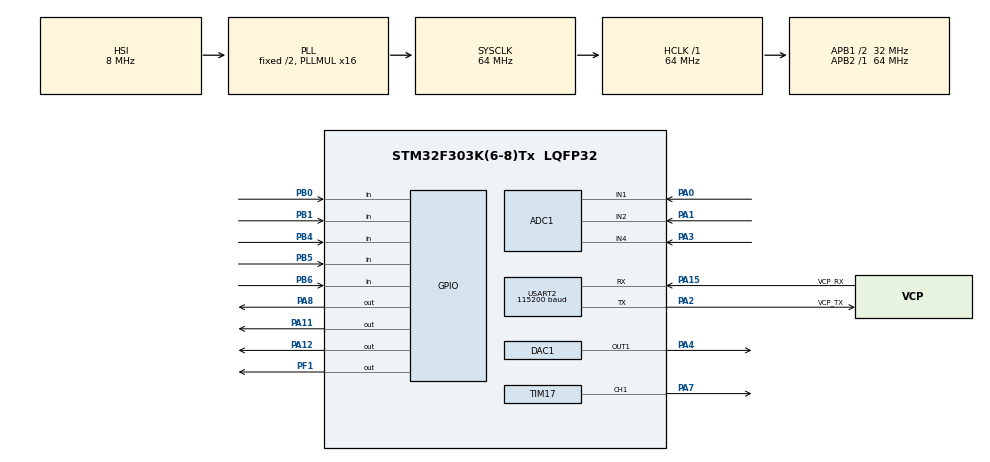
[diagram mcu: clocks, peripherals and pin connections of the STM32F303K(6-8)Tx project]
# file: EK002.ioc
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ADC1.Channel-0\#ChannelRegularConversion=ADC_CHANNEL_1
ADC1.Channel-1\#ChannelRegularConversion=ADC_CHANNEL_2
ADC1.Channel-2\#ChannelRegularConversion=ADC_CHANNEL_4
ADC1.ContinuousConvMode=ENABLE
ADC1.DMAContinuousRequests=ENABLE
ADC1.NbrOfConversion=3
ADC1.NbrOfConversionFlag=1
ADC1.Offset-0\#ChannelRegularConversion=0
ADC1.Offset-1\#ChannelRegularConversion=0
ADC1.Offset-2\#ChannelRegularConversion=0
ADC1.OffsetNumber-0\#ChannelRegularConversion=ADC_OFFSET_NONE
ADC1.OffsetNumber-1\#ChannelRegularConversion=ADC_OFFSET_NONE
ADC1.OffsetNumber-2\#ChannelRegularConversion=ADC_OFFSET_NONE
ADC1.Rank-0\#ChannelRegularConversion=1
ADC1.Rank-1\#ChannelRegularConversion=2
ADC1.Rank-2\#ChannelRegularConversion=3
ADC1.SamplingTime-0\#ChannelRegularConversion=ADC_SAMPLETIME_601CYCLES_5
ADC1.SamplingTime-1\#ChannelRegularConversion=ADC_SAMPLETIME_601CYCLES_5
ADC1.SamplingTime-2\#ChannelRegularConversion=ADC_SAMPLETIME_601CYCLES_5
ADC1.SamplingTimeOPAMP-1\#ChannelRegularConversion=ADC_SAMPLETIME_61CYCLES_5
ADC1.SamplingTimeOPAMP-2\#ChannelRegularConversion=ADC_SAMPLETIME_61CYCLES_5
ADC1.SubFamily=STM32F303x8
ADC1.master=1
DAC1.DAC_Trigger=DAC_TRIGGER_T6_TRGO
Dma.ADC1.1.Direction=DMA_PERIPH_TO_MEMORY
Dma.ADC1.1.Instance=DMA1_Channel1
Dma.ADC1.1.MemDataAlignment=DMA_MDATAALIGN_HALFWORD
Dma.ADC1.1.MemInc=DMA_MINC_ENABLE
Dma.ADC1.1.Mode=DMA_CIRCULAR
Dma.ADC1.1.PeriphDataAlignment=DMA_PDATAALIGN_HALFWORD
Dma.ADC1.1.PeriphInc=DMA_PINC_DISABLE
Dma.ADC1.1.Priority=DMA_PRIORITY_LOW
Dma.DAC1_CH1.2.Direction=DMA_MEMORY_TO_PERIPH
Dma.DAC1_CH1.2.Instance=DMA1_Channel3
Dma.DAC1_CH1.2.MemDataAlignment=DMA_MDATAALIGN_HALFWORD
Dma.DAC1_CH1.2.MemInc=DMA_MINC_ENABLE
Dma.DAC1_CH1.2.Mode=DMA_CIRCULAR
Dma.DAC1_CH1.2.PeriphDataAlignment=DMA_PDATAALIGN_HALFWORD
Dma.DAC1_CH1.2.PeriphInc=DMA_PINC_DISABLE
Dma.DAC1_CH1.2.Priority=DMA_PRIORITY_LOW
Dma.Request0=TIM17_CH1/UP
Dma.Request1=ADC1
Dma.Request2=DAC1_CH1
Dma.TIM17_CH1/UP.0.Direction=DMA_MEMORY_TO_PERIPH
Dma.TIM17_CH1/UP.0.Instance=DMA1_Channel7
Dma.TIM17_CH1/UP.0.MemDataAlignment=DMA_MDATAALIGN_BYTE
Dma.TIM17_CH1/UP.0.MemInc=DMA_MINC_ENABLE
Dma.TIM17_CH1/UP.0.Mode=DMA_CIRCULAR
Dma.TIM17_CH1/UP.0.PeriphDataAlignment=DMA_PDATAALIGN_HALFWORD
Dma.TIM17_CH1/UP.0.PeriphInc=DMA_PINC_DISABLE
Dma.TIM17_CH1/UP.0.Priority=DMA_PRIORITY_LOW
Mcu.Family=STM32F3
Mcu.Name=STM32F303K(6-8)Tx
Mcu.Package=LQFP32
NVIC.DMA1_Channel1_IRQn=true\:0\:0\:false\:false\:true\:false\:true\:true
NVIC.DMA1_Channel3_IRQn=true\:0\:0\:false\:false\:true\:false\:true\:true
NVIC.DMA1_Channel7_IRQn=true\:0\:0\:false\:false\:true\:false\:true\:true
NVIC.PriorityGroup=NVIC_PRIORITYGROUP_4
NVIC.TIM6_DAC1_IRQn=true\:0\:0\:false\:false\:true\:true\:true\:true
NVIC.TIM7_DAC2_IRQn=true\:0\:0\:false\:false\:true\:true\:true\:true
PA0.Mode=IN1-Single-Ended
PA0.Signal=ADC1_IN1
PA1.Mode=IN2-Single-Ended
PA1.Signal=ADC1_IN2
PA11.Signal=GPIO_Output
PA12.Signal=GPIO_Output
PA13.GPIO_Label=SWDIO
PA13.Mode=Trace_Asynchronous_SW
PA13.Signal=SYS_JTMS-SWDIO
PA14.GPIO_Label=SWCLK
PA14.Mode=Trace_Asynchronous_SW
PA14.Signal=SYS_JTCK-SWCLK
PA15.GPIO_Label=VCP_RX
PA15.Mode=Asynchronous
PA15.Signal=USART2_RX
PA2.GPIO_Label=VCP_TX
PA2.Mode=Asynchronous
PA2.Signal=USART2_TX
PA3.Mode=IN4-Single-Ended
PA3.Signal=ADC1_IN4
PA4.Signal=COMP_DAC11_group
PA7.Signal=S_TIM17_CH1
PA8.Signal=GPIO_Output
PB0.Signal=GPIO_Input
PB1.Signal=GPIO_Input
PB3.Mode=Trace_Asynchronous_SW
PB3.Signal=SYS_JTDO-TRACESWO
PB4.Signal=GPIO_Input
PB5.Signal=GPIO_Input
PB6.Signal=GPIO_Input
PF0\ /\ OSC_IN.GPIO_Label=MCO
PF0\ /\ OSC_IN.Mode=HSE-External-Clock-Source
PF0\ /\ OSC_IN.Signal=RCC_OSC_IN
PF1\ /\ OSC_OUT.Signal=GPIO_Output
ProjectManager.HeapSize=0x200
ProjectManager.StackSize=0x400
ProjectManager.TargetToolchain=STM32CubeIDE
RCC.AHBFreq_Value=64000000
RCC.APB1CLKDivider=RCC_HCLK_DIV2
RCC.APB1Freq_Value=32000000
RCC.APB1TimFreq_Value=64000000
RCC.APB2Freq_Value=64000000
RCC.APB2TimFreq_Value=64000000
RCC.CortexFreq_Value=64000000
RCC.HCLKFreq_Value=64000000
RCC.HSE_VALUE=8000000
RCC.HSI_VALUE=8000000
RCC.PLLMUL=RCC_PLL_MUL16
RCC.SYSCLKFreq_VALUE=64000000
RCC.SYSCLKSourceVirtual=RCC_SYSCLKSOURCE_PLLCLK
SH.COMP_DAC11_group.0=DAC1_OUT1,DAC_OUT1
SH.S_TIM17_CH1.0=TIM17_CH1,PWM Generation1 CH1
TIM17.Channel=TIM_CHANNEL_1
TIM17.Period=39
TIM17.Prescaler=1
TIM6.AutoReloadPreload=TIM_AUTORELOAD_PRELOAD_ENABLE
TIM6.Period=2666
TIM6.TIM_MasterOutputTrigger=TIM_TRGO_UPDATE
TIM7.AutoReloadPreload=TIM_AUTORELOAD_PRELOAD_ENABLE
TIM7.Period=1000
TIM7.Prescaler=64
USART2.BaudRate=115200
USART2.VirtualMode-Asynchronous=VM_ASYNC
VP_TIM17_VS_ClockSourceINT.Mode=Enable_Timer
VP_TIM6_VS_ClockSourceINT.Mode=Enable_Timer
VP_TIM7_VS_ClockSourceINT.Mode=Enable_Timer
board=NUCLEO-F303K8

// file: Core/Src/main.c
/* USER CODE BEGIN Header */
/**
  ******************************************************************************
  * @file           : main.c
  * @brief          : Main program body
  ******************************************************************************
  * @attention
  *
  * Copyright (c) 2023 STMicroelectronics.
  * All rights reserved.
  *
  * This software is licensed under terms that can be found in the LICENSE file
  * in the root directory of this software component.
  * If no LICENSE file comes with this software, it is provided AS-IS.
  *
  ******************************************************************************
  */
/* USER CODE END Header */
#include "main.h"

/* USER CODE BEGIN Includes */
#include <stdio.h>
#include <math.h>

/* USER CODE END Includes */

ADC_HandleTypeDef hadc1;
DMA_HandleTypeDef hdma_adc1;

DAC_HandleTypeDef hdac1;
DMA_HandleTypeDef hdma_dac1_ch1;

TIM_HandleTypeDef htim6;
TIM_HandleTypeDef htim7;
TIM_HandleTypeDef htim17;
DMA_HandleTypeDef hdma_tim17_ch1_up;

UART_HandleTypeDef huart2;

void SystemClock_Config(void);
static void MX_GPIO_Init(void);
static void MX_DMA_Init(void);
static void MX_USART2_UART_Init(void);
static void MX_TIM17_Init(void);
static void MX_ADC1_Init(void);
static void MX_DAC1_Init(void);
static void MX_TIM6_Init(void);
static void MX_TIM7_Init(void);

/* USER CODE BEGIN 0 */

//###### DAC1 Out1 ######
// Use DAC1-Out1 for audio output
//  Driven by DMA1-Ch3 trig TIM6 DMA Circular

#define OUTBUFFLEN (2048)
#define OUTBUFFLENHALF (OUTBUFFLEN / 2)

uint16_t outBuff[OUTBUFFLEN];		// OutputBuffer for DAC
int outBuffAvail0 = 1;				// Buffer First half ready
int outBuffAvail1 = 1;				// Buffer Latter half ready

//###### ADC1 Ch1,Ch2,Ch4 ######
// Read 3 pots analog value ADC1-Ch1, ADC1-Ch2, ADC-Ch4 by DMA1-Ch1 Circular

uint16_t adcVal[3] = {
		0, 0, 0,
};

//###### NeoPixel ######
// NeoPixel LED Driven by TIM17-Ch1 PWM, duty controlled by DMA1-Ch7 (neoPixelBuff)
//
#define NEOPIXELNUM 4
#define NEOPIXELPREAMBLE 50
#define NEOPIXELPOSTAMBLE 10
#define NEOPIXELBUFFLEN (24 * NEOPIXELNUM + NEOPIXELPREAMBLE + NEOPIXELPOSTAMBLE)

// NeoPixel duty definition
#define NEOPIXBIT0	12
#define NEOPIXBIT1	26
int tim17prescaler = 1;

// PWM duty control value array
uint8_t neoPixelBuff[NEOPIXELBUFFLEN] = {
		0,0,0,0,0,0,0,0,0,0,	// preamble
		0,0,0,0,0,0,0,0,0,0,
		0,0,0,0,0,0,0,0,0,0,
		0,0,0,0,0,0,0,0,0,0,
		0,0,0,0,0,0,0,0,0,0,

		0,0,0,0,0,0,0,0,0,0,	// LED 0
		0,0,0,0,0,0,0,0,0,0,
		0,0,0,0,

		0,0,0,0,0,0,0,0,0,0,	// LED 1
		0,0,0,0,0,0,0,0,0,0,
		0,0,0,0,

		0,0,0,0,0,0,0,0,0,0,	// LED 2
		0,0,0,0,0,0,0,0,0,0,
		0,0,0,0,

		0,0,0,0,0,0,0,0,0,0,	// LED 3
		0,0,0,0,0,0,0,0,0,0,
		0,0,0,0,

		0,0,0,0,0,0,0,0,0,0,	// postamble
};
uint8_t neoPixelBuffNone[16] = {
		0, 0, 0, 0, 0, 0, 0, 0,
		0, 0, 0, 0, 0, 0, 0, 0,
};

//###### Keys #####
#define VOICEMAX 4

int keyActive[VOICEMAX];
int keyActiveQue[VOICEMAX];

// KO 0-2 = PA12, PA8, PA11
// KI 0-5 = GPIO PortB bit => 5432xx10
int keyOut;
int keyInBits = 0;
int keyInBitsOld1 = 0;
int keyInBitsOld2 = 0;

// Read KI 0-5 bits
// EK002 PB 5432xx10
#define KEYINBITS ((GPIOB->IDR & 0b11) | ((GPIOB->IDR >> 2) & 0b00111100))

// KO 0-2 port & pin
//EK002
#define KEYOUT0_PORT GPIOA
#define KEYOUT1_PORT GPIOA
#define KEYOUT2_PORT GPIOA
#define KEYOUT0_PIN GPIO_PIN_12
#define KEYOUT1_PIN GPIO_PIN_8
#define KEYOUT2_PIN GPIO_PIN_11

//###### Osc ######

#define OSCFSORIG (24000)
int oscFsTune = OSCFSORIG;
int oscDelta[17];
int oscPhaseActive[VOICEMAX];
int envPhaseActive[VOICEMAX];
int oscMix;
int envPhaseRate;

// Ring Osc
int modPhase = 0;
int modDelta = 2555;
int modType = 0;

// NeoPixel status
int ledOut[3];

// Frequencies for each keys
#define OCTAVE 3

int oscFreq[17] = {
		(int)(1174.6590716696303 * (0x02000 << OCTAVE)),	//D5
		(int)(987.7666025122483  * (0x02000 << OCTAVE)),	//B4
		(int)(783.9908719634986  * (0x02000 << OCTAVE)), 	//G4
		(int)(659.2551138257398  * (0x02000 << OCTAVE)),	//E4
		(int)(523.2511306011972  * (0x02000 << OCTAVE)),	//C4
		(int)(440.0              * (0x02000 << OCTAVE)),	//A3
		(int)(349.2282314330039  * (0x02000 << OCTAVE)),	//F3
		(int)(293.6647679174076  * (0x02000 << OCTAVE)),	//D3
		(int)(261.6255653005986  * (0x02000 << OCTAVE)),	//C3
		(int)(329.6275569128699  * (0x02000 << OCTAVE)),	//E3
		(int)(391.99543598174927 * (0x02000 << OCTAVE)),	//G3
		(int)(493.8833012561241  * (0x02000 << OCTAVE)),	//B3
		(int)(587.3295358348151  * (0x02000 << OCTAVE)),	//D4
		(int)(698.4564628660078  * (0x02000 << OCTAVE)),	//F4
		(int)(880.0              * (0x02000 << OCTAVE)),	//A4
		(int)(1046.5022612023945 * (0x02000 << OCTAVE)),	//C5
		(int)(1318.5102276514797 * (0x02000 << OCTAVE)), 	//E5
};

// Waveforms

int waveTabA[] = {
		0,
		98,
		195,
		290,
		383,
		471,
		556,
		634,
		707,
		773,
		831,
		882,
		924,
		957,
		981,
		995,
		1000,
		995,
		981,
		957,
		924,
		882,
		831,
		773,
		707,
		634,
		556,
		471,
		383,
		290,
		195,
		98,
		0,
		-98,
		-195,
		-290,
		-383,
		-471,
		-556,
		-634,
		-707,
		-773,
		-831,
		-882,
		-924,
		-957,
		-981,
		-995,
		-1000,
		-995,
		-981,
		-957,
		-924,
		-882,
		-831,
		-773,
		-707,
		-634,
		-556,
		-471,
		-383,
		-290,
		-195,
		-98,
		0,
};
int waveTabB[] = {
		0,
		3,
		24,
		67,
		125,
		179,
		212,
		221,
		220,
		228,
		260,
		315,
		378,
		426,
		446,
		442,
		434,
		449,
		498,
		573,
		644,
		682,
		676,
		642,
		620,
		652,
		752,
		888,
		991,
		980,
		800,
		452,
		0,
		-452,
		-800,
		-980,
		-991,
		-888,
		-752,
		-652,
		-620,
		-642,
		-676,
		-682,
		-644,
		-573,
		-498,
		-449,
		-434,
		-442,
		-446,
		-426,
		-378,
		-315,
		-260,
		-228,
		-220,
		-221,
		-212,
		-179,
		-125,
		-67,
		-24,
		-3,
		0,
};
int waveTabC[] = {
		0,
		523,
		897,
		1029,
		915,
		634,
		315,
		81,
		0,
		66,
		210,
		339,
		379,
		312,
		178,
		52,
		0,
		52,
		178,
		312,
		379,
		339,
		210,
		66,
		0,
		81,
		315,
		634,
		915,
		1029,
		897,
		523,
		0,
		-523,
		-897,
		-1029,
		-915,
		-634,
		-315,
		-81,
		0,
		-66,
		-210,
		-339,
		-379,
		-312,
		-178,
		-52,
		0,
		-52,
		-178,
		-312,
		-379,
		-339,
		-210,
		-66,
		0,
		-81,
		-315,
		-634,
		-915,
		-1029,
		-897,
		-523,
		0,
};
int waveTabD[] = {
		0,
		0,
		0,
		0,
		0,
		0,
		0,
		0,
		0,
		0,
		700,
		700,
		700,
		700,
		700,
		700,
		700,
		700,
		700,
		700,
		700,
		700,
		700,
		700,
		700,
		700,
		700,
		700,
		700,
		700,
		700,
		-700,
		-700,
		-700,
		-700,
		-700,
		-700,
		-700,
		-700,
		-700,
		-700,
		-700,
		-700,
		-700,
		-700,
		-700,
		-700,
		-700,
		-700,
		-700,
		-700,
		-700,
		-700,
		-700,
		0,
		0,
		0,
		0,
		0,
		0,
		0,
		0,
		0,
		0,
		0,
};
// Current waveform (The output will be mix of waveTab1 and waveTab2)
int *waveTab1 = waveTabA;
int *waveTab2 = waveTabB;

// Envelope curve
int envTab[] = {
		1024,
		870,
		740,
		629,
		535,
		454,
		386,
		328,
		279,
		237,
		202,
		171,
		146,
		124,
		105,
		89,
		76,
		65,
		55,
		47,
		40,
		34,
		29,
		24,
		21,
		18,
		15,
		13,
		11,
		9,
		8,
		7,
		6,
		5,
		4,
		3,
		3,
		3,
		2,
		0
};
#define ENVTABLEN (sizeof envTab / sizeof envTab[0])
#define ENVPHASEMAX ((ENVTABLEN -1) << 20)

int key2LedOut[] = {
		0,
		0,
		0,
		1,
		1,
		1,
		2,
		2,
		2,
		2,
		2,
		1,
		1,
		1,
		0,
		0,
		0,
};

// Select the least important voice
int disposeVoice(int key) {
	int v = 0;
	int envMax = 0;
	for(int i=0; i < VOICEMAX; ++i) {
		if(envPhaseActive[i] >= ENVPHASEMAX)
			return i;
		if(keyActive[i] == key)
			return i;
		if(envPhaseActive[i] > envMax) {
			envMax = envPhaseActive[i];
			v = i;
		}
	}
	return v;
}
// Assign new voice
void assignVoice(int key) {
//	printf("key: %d\r\n",key);
	int voice = disposeVoice(key);
	if(envPhaseActive[voice] < ENVPHASEMAX) {
		keyActiveQue[voice] = key;
	}
	else {
		oscPhaseActive[voice] = 0;
		keyActive[voice] = key;
		envPhaseActive[voice] = 0;
	}
}
// Setup NeoPix N to specified BRG color
void neoPixelSetCol(int n, int brg) {
	int offset = NEOPIXELPREAMBLE + (n * 24);
	for(int i = 0; i < 24; ++i, brg <<= 1) {
		if(brg & 0x800000)
			neoPixelBuff[offset + i] = NEOPIXBIT1;
		else
			neoPixelBuff[offset + i] = NEOPIXBIT0;
	}
}
// Scan keys
void scanKeys() {
	keyInBits = (keyInBits << 6) | KEYINBITS;						// collect key status
	neoPixelSetCol(keyOut, (keyInBits & 0b111111) ? 0x000010:0);
	if(--keyOut < 0) {
		int keyInBitsNew = keyInBits & keyInBitsOld1 & keyInBitsOld2;
		for(int n = 0;n < 17; ++n, keyInBitsNew >>= 1) {
			if(keyInBitsNew & 1) {
				assignVoice(n);
			}
		}
		keyOut = 2;
		keyInBitsOld2 = keyInBitsOld1;
		keyInBitsOld1 = ~keyInBits;
		keyInBits = 0;
	}
    switch(keyOut) {												// next scan (KO2 => KO1 => KO0)
    case 0:
    	HAL_GPIO_WritePin(KEYOUT1_PORT, KEYOUT1_PIN, GPIO_PIN_RESET);
    	HAL_GPIO_WritePin(KEYOUT0_PORT, KEYOUT0_PIN, GPIO_PIN_SET);
    	break;
    case 1:
    	HAL_GPIO_WritePin(KEYOUT2_PORT, KEYOUT2_PIN, GPIO_PIN_RESET);
    	HAL_GPIO_WritePin(KEYOUT1_PORT, KEYOUT1_PIN, GPIO_PIN_SET);
    	break;
    case 2:
    	HAL_GPIO_WritePin(KEYOUT0_PORT, KEYOUT0_PIN, GPIO_PIN_RESET);
    	HAL_GPIO_WritePin(KEYOUT2_PORT, KEYOUT2_PIN, GPIO_PIN_SET);
    	break;
    }
}
// Edit with pot parameters
void editSetup() {
  static int editstage=0;
  if(++editstage > 2) {
	  editstage = 0;
  }
  switch(editstage) {
  case 0:				// setup Sustain param
	  envPhaseRate = 0x100000 / (adcVal[0] + 0x100);
	  break;
  case 1:				// setup Waveform param
	  oscMix = ((adcVal[1] & 1023) >> 2);
	  if(adcVal[1] >= 3072) {
		  modType = 1;
		  waveTab1 = waveTabD;
		  waveTab2 = waveTabD;
	  }
	  else if(adcVal[1] >= 2048) {
		  modType = 0;
		  waveTab1 = waveTabC;
		  waveTab2 = waveTabD;
	  }
	  else if(adcVal[1] >= 1024) {
		  modType = 0;
		  waveTab1 = waveTabB;
		  waveTab2 = waveTabC;
	  }
	  else {
		  modType = 0;
		  waveTab1 = waveTabA;
		  waveTab2 = waveTabB;
	  }
	  break;
  case 2:				// setup Tuning param
	  int detune = (adcVal[2] & 0xfff) - 2048;
	  oscFsTune = OSCFSORIG - detune;
	  break;
  }
}
// Create the timings for keyscan / editparameters
void scanInterval() {
	// 1kHz Interval
	static int cntKeyScan = 0;
	static int cntEditParam = 0;
	if(++cntKeyScan > 1) {
		cntKeyScan = 0;
		scanKeys();
	}
	else if(++cntEditParam >= 8) {
    	cntEditParam = 0;
    	editSetup();
    }
}
// Generate output signals
//  fill half the buffer with the signals from offset
void generate(int offset) {
	int sumVoiceData;
	ledOut[0] = ledOut[1] = ledOut[2] = 0;
	for(int key = 0; key < 17; ++key)
		oscDelta[key] = oscFreq[key] / oscFsTune;
	for(int j = 0; j < OUTBUFFLENHALF; ++j) {										// Fill half the buffer
		sumVoiceData = 0x8000;
		for(int i = 0; i < VOICEMAX; ++i) {
			if(envPhaseActive[i] < ENVPHASEMAX) {									// Sound generating
				int ph = oscPhaseActive[i];
				int frac = (ph >> 6) & 0xf;
				int idx = ph >> 10;
				int idxNext = idx + 1;
				int wave1 = waveTab1[idx] + (((waveTab1[idxNext] - waveTab1[idx]) * frac) >> 4);
				int wave2;
				if(modType) {														// If use RingMod
					modPhase = (modPhase + modDelta) & 0xffff;
					int ringOsc = waveTab1[modPhase>>10];
					wave2 = (wave1 * ringOsc) >> 10;
				}
				else {
					wave2 = waveTab2[idx] + (((waveTab2[idxNext] - waveTab2[idx]) * frac) >> 4);
				}
				int wave = wave1 + (((wave2 - wave1) * oscMix) >> 8);				// Mix two waveform
				int envIdx = (envPhaseActive[i] >> 20);
				int envIdxNext = envIdx + 1;
				int envFrac = (envPhaseActive[i] >> 16) & 0xf;
				int envVal = envTab[envIdx];
				envVal = envVal + ((envTab[envIdxNext] - envVal) * envFrac >> 4);	// Envelope value
				int voiceData = ((wave * (envVal>>2)) >> 5);
				int ledidx = key2LedOut[keyActive[i]];
				if(envVal > ledOut[ledidx])
					ledOut[ledidx] = envVal;
				sumVoiceData += voiceData;
				if((oscPhaseActive[i] += oscDelta[keyActive[i]]) >= 0x10000) {
					oscPhaseActive[i] -= 0x10000;
				}
				envPhaseActive[i] += envPhaseRate;
				if(keyActiveQue[i] >= 0) {											// If the next key is in the queue
					if((envPhaseActive[i] += 0x100000) >= ENVPHASEMAX) {  			// hasten the envelope and reduce the volume
						keyActive[i] = keyActiveQue[i];
						envPhaseActive[i] = 0;
						oscPhaseActive[i] = 0;
						keyActiveQue[i] = -1;
					}
				}
			}
		}
		if(sumVoiceData >= 0xf000) {
			sumVoiceData = 0xf000;
//			HAL_GPIO_WritePin(GPIOB, GPIO_PIN_3, GPIO_PIN_SET);
		}
		else if(sumVoiceData < 0x1000) {
			sumVoiceData = 0x1000;
//			HAL_GPIO_WritePin(GPIOB, GPIO_PIN_3, GPIO_PIN_SET);
		}
		else {
//			HAL_GPIO_WritePin(GPIOB, GPIO_PIN_3, GPIO_PIN_RESET);
		}
		outBuff[offset + j] = sumVoiceData;
		if(offset) {
			outBuffAvail1 = 1;
//			HAL_GPIO_WritePin(GPIOB, GPIO_PIN_3, GPIO_PIN_SET);
		}
		else {
			outBuffAvail0 = 1;
//			HAL_GPIO_WritePin(GPIOB, GPIO_PIN_3, GPIO_PIN_RESET);
		}
	}
	neoPixelSetCol(3, ((ledOut[1]<<10)&0x0f0000) | ((ledOut[2]<<2)&0x000f00) | (ledOut[0] >> 3));
}

//###### Callback #######################

//###### TIM17 callback
void HAL_TIM_PWM_PulseFinishedCallback(TIM_HandleTypeDef *htim) {
    if(htim->Instance == TIM17) {
		if(tim17prescaler == 1) {
			__HAL_TIM_SET_PRESCALER(htim, tim17prescaler = 1000);
			HAL_TIM_PWM_Start_DMA(&htim17,TIM_CHANNEL_1,(uint32_t*)neoPixelBuffNone, sizeof neoPixelBuffNone);
		}
		else {
			__HAL_TIM_SET_PRESCALER(htim, tim17prescaler = 1);
			HAL_TIM_PWM_Start_DMA(&htim17,TIM_CHANNEL_1,(uint32_t*)neoPixelBuff, sizeof neoPixelBuff);
		}
	}
}
//###### TIM7 callback
void  HAL_TIM_PeriodElapsedCallback(TIM_HandleTypeDef *htim){
	if(htim->Instance == TIM7) {
	  scanInterval();
	}
}
//###### DAC callback End of buffer
void HAL_DAC_ConvCpltCallbackCh1(DAC_HandleTypeDef *hdac) {
	outBuffAvail1 = 0;
}
//###### DAC callback End of half buffer
void HAL_DAC_ConvHalfCpltCallbackCh1(DAC_HandleTypeDef *hdac) {
	outBuffAvail0 = 0;

}
//###### for printf debug ######
int _write(int file, char *ptr, int len)
{
  HAL_UART_Transmit(&huart2,(uint8_t *)ptr,len,10);
  return len;
}

/* USER CODE END 0 */

int main(void)
{

  /* MCU Configuration--------------------------------------------------------*/

  /* Reset of all peripherals, Initializes the Flash interface and the Systick. */
  HAL_Init();

  /* USER CODE BEGIN Init */
  setbuf(stdout, NULL);

  for(int i = 0; i < OUTBUFFLEN; ++i) {
	  outBuff[i] = 0x8000;
  }
  for(int i = 0; i < VOICEMAX; ++i) {
	  envPhaseActive[i] = (ENVTABLEN << 20);
  }
  /* USER CODE END Init */

  /* Configure the system clock */
  SystemClock_Config();

  /* Initialize all configured peripherals */
  MX_GPIO_Init();
  MX_DMA_Init();
  MX_USART2_UART_Init();
  MX_TIM17_Init();
  MX_ADC1_Init();
  MX_DAC1_Init();
  MX_TIM6_Init();
  MX_TIM7_Init();
  /* USER CODE BEGIN 2 */

  printf(" USER CODE BEGIN 2\r\n");

  HAL_DAC_Start(&hdac1, DAC_CHANNEL_1);
  HAL_ADC_Start_DMA(&hadc1, (uint32_t *)adcVal, 3);
  HAL_TIM_Base_Start_IT(&htim6);
  HAL_TIM_Base_Start_IT(&htim7);
  HAL_TIM_PWM_Start_DMA(&htim17,TIM_CHANNEL_1,(uint32_t*)neoPixelBuff, sizeof neoPixelBuff);

  HAL_GPIO_WritePin(GPIOF, GPIO_PIN_1, GPIO_PIN_RESET);
  HAL_GPIO_WritePin(GPIOA, GPIO_PIN_8, GPIO_PIN_RESET);
  HAL_GPIO_WritePin(GPIOA, GPIO_PIN_11, GPIO_PIN_RESET);

  for(int i = 0; i < 17; ++i) {
	  oscDelta[i] = oscFreq[i] / OSCFSORIG;
  }
  for(int i = 0; i < VOICEMAX; ++i) {
	  keyActive[i] = keyActiveQue[i] = -1;
  }
  neoPixelSetCol(3, 0x101010);
  HAL_DAC_Start_DMA(&hdac1, DAC_CHANNEL_1, (uint32_t*)outBuff, OUTBUFFLEN, DAC_ALIGN_12B_L);

  printf("STM32 Initialized.\r\n");

  /* USER CODE END 2 */

  /* Infinite loop */
  /* USER CODE BEGIN WHILE */

  printf("BEGIN WHILE\r\n");

  while (1)
  {
    /* USER CODE END WHILE */

    /* USER CODE BEGIN 3 */
	  // Fill output buffer
	  if(outBuffAvail0 == 0)
		  generate(0);
	  if(outBuffAvail1 == 0)
		  generate(OUTBUFFLENHALF);
  }
  /* USER CODE END 3 */
}

void SystemClock_Config(void)
{
  RCC_OscInitTypeDef RCC_OscInitStruct = {0};
  RCC_ClkInitTypeDef RCC_ClkInitStruct = {0};
  RCC_PeriphCLKInitTypeDef PeriphClkInit = {0};

  /** Initializes the RCC Oscillators according to the specified parameters
  * in the RCC_OscInitTypeDef structure.
  */
  RCC_OscInitStruct.OscillatorType = RCC_OSCILLATORTYPE_HSI;
  RCC_OscInitStruct.HSIState = RCC_HSI_ON;
  RCC_OscInitStruct.HSICalibrationValue = RCC_HSICALIBRATION_DEFAULT;
  RCC_OscInitStruct.PLL.PLLState = RCC_PLL_ON;
  RCC_OscInitStruct.PLL.PLLSource = RCC_PLLSOURCE_HSI;
  RCC_OscInitStruct.PLL.PLLMUL = RCC_PLL_MUL16;
  if (HAL_RCC_OscConfig(&RCC_OscInitStruct) != HAL_OK)
  {
    Error_Handler();
  }

  /** Initializes the CPU, AHB and APB buses clocks
  */
  RCC_ClkInitStruct.ClockType = RCC_CLOCKTYPE_HCLK|RCC_CLOCKTYPE_SYSCLK
                              |RCC_CLOCKTYPE_PCLK1|RCC_CLOCKTYPE_PCLK2;
  RCC_ClkInitStruct.SYSCLKSource = RCC_SYSCLKSOURCE_PLLCLK;
  RCC_ClkInitStruct.AHBCLKDivider = RCC_SYSCLK_DIV1;
  RCC_ClkInitStruct.APB1CLKDivider = RCC_HCLK_DIV2;
  RCC_ClkInitStruct.APB2CLKDivider = RCC_HCLK_DIV1;

  if (HAL_RCC_ClockConfig(&RCC_ClkInitStruct, FLASH_LATENCY_2) != HAL_OK)
  {
    Error_Handler();
  }
  PeriphClkInit.PeriphClockSelection = RCC_PERIPHCLK_ADC12;
  PeriphClkInit.Adc12ClockSelection = RCC_ADC12PLLCLK_DIV1;
  if (HAL_RCCEx_PeriphCLKConfig(&PeriphClkInit) != HAL_OK)
  {
    Error_Handler();
  }
}

static void MX_ADC1_Init(void)
{

  ADC_MultiModeTypeDef multimode = {0};
  ADC_ChannelConfTypeDef sConfig = {0};

  /** Common config
  */
  hadc1.Instance = ADC1;
  hadc1.Init.ClockPrescaler = ADC_CLOCK_ASYNC_DIV1;
  hadc1.Init.Resolution = ADC_RESOLUTION_12B;
  hadc1.Init.ScanConvMode = ADC_SCAN_ENABLE;
  hadc1.Init.ContinuousConvMode = ENABLE;
  hadc1.Init.DiscontinuousConvMode = DISABLE;
  hadc1.Init.ExternalTrigConvEdge = ADC_EXTERNALTRIGCONVEDGE_NONE;
  hadc1.Init.ExternalTrigConv = ADC_SOFTWARE_START;
  hadc1.Init.DataAlign = ADC_DATAALIGN_RIGHT;
  hadc1.Init.NbrOfConversion = 3;
  hadc1.Init.DMAContinuousRequests = ENABLE;
  hadc1.Init.EOCSelection = ADC_EOC_SINGLE_CONV;
  hadc1.Init.LowPowerAutoWait = DISABLE;
  hadc1.Init.Overrun = ADC_OVR_DATA_OVERWRITTEN;
  if (HAL_ADC_Init(&hadc1) != HAL_OK)
  {
    Error_Handler();
  }

  /** Configure the ADC multi-mode
  */
  multimode.Mode = ADC_MODE_INDEPENDENT;
  if (HAL_ADCEx_MultiModeConfigChannel(&hadc1, &multimode) != HAL_OK)
  {
    Error_Handler();
  }

  /** Configure Regular Channel
  */
  sConfig.Channel = ADC_CHANNEL_1;
  sConfig.Rank = ADC_REGULAR_RANK_1;
  sConfig.SingleDiff = ADC_SINGLE_ENDED;
  sConfig.SamplingTime = ADC_SAMPLETIME_601CYCLES_5;
  sConfig.OffsetNumber = ADC_OFFSET_NONE;
  sConfig.Offset = 0;
  if (HAL_ADC_ConfigChannel(&hadc1, &sConfig) != HAL_OK)
  {
    Error_Handler();
  }

  /** Configure Regular Channel
  */
  sConfig.Channel = ADC_CHANNEL_2;
  sConfig.Rank = ADC_REGULAR_RANK_2;
  if (HAL_ADC_ConfigChannel(&hadc1, &sConfig) != HAL_OK)
  {
    Error_Handler();
  }

  /** Configure Regular Channel
  */
  sConfig.Channel = ADC_CHANNEL_4;
  sConfig.Rank = ADC_REGULAR_RANK_3;
  if (HAL_ADC_ConfigChannel(&hadc1, &sConfig) != HAL_OK)
  {
    Error_Handler();
  }

}

static void MX_DAC1_Init(void)
{

  DAC_ChannelConfTypeDef sConfig = {0};

  /** DAC Initialization
  */
  hdac1.Instance = DAC1;
  if (HAL_DAC_Init(&hdac1) != HAL_OK)
  {
    Error_Handler();
  }

  /** DAC channel OUT1 config
  */
  sConfig.DAC_Trigger = DAC_TRIGGER_T6_TRGO;
  sConfig.DAC_OutputBuffer = DAC_OUTPUTBUFFER_ENABLE;
  if (HAL_DAC_ConfigChannel(&hdac1, &sConfig, DAC_CHANNEL_1) != HAL_OK)
  {
    Error_Handler();
  }

}

static void MX_TIM6_Init(void)
{

  TIM_MasterConfigTypeDef sMasterConfig = {0};

  htim6.Instance = TIM6;
  htim6.Init.Prescaler = 0;
  htim6.Init.CounterMode = TIM_COUNTERMODE_UP;
  htim6.Init.Period = 2666;
  htim6.Init.AutoReloadPreload = TIM_AUTORELOAD_PRELOAD_ENABLE;
  if (HAL_TIM_Base_Init(&htim6) != HAL_OK)
  {
    Error_Handler();
  }
  sMasterConfig.MasterOutputTrigger = TIM_TRGO_UPDATE;
  sMasterConfig.MasterSlaveMode = TIM_MASTERSLAVEMODE_DISABLE;
  if (HAL_TIMEx_MasterConfigSynchronization(&htim6, &sMasterConfig) != HAL_OK)
  {
    Error_Handler();
  }

}

static void MX_TIM7_Init(void)
{

  TIM_MasterConfigTypeDef sMasterConfig = {0};

  htim7.Instance = TIM7;
  htim7.Init.Prescaler = 64;
  htim7.Init.CounterMode = TIM_COUNTERMODE_UP;
  htim7.Init.Period = 1000;
  htim7.Init.AutoReloadPreload = TIM_AUTORELOAD_PRELOAD_ENABLE;
  if (HAL_TIM_Base_Init(&htim7) != HAL_OK)
  {
    Error_Handler();
  }
  sMasterConfig.MasterOutputTrigger = TIM_TRGO_RESET;
  sMasterConfig.MasterSlaveMode = TIM_MASTERSLAVEMODE_DISABLE;
  if (HAL_TIMEx_MasterConfigSynchronization(&htim7, &sMasterConfig) != HAL_OK)
  {
    Error_Handler();
  }

}

static void MX_TIM17_Init(void)
{

  TIM_OC_InitTypeDef sConfigOC = {0};
  TIM_BreakDeadTimeConfigTypeDef sBreakDeadTimeConfig = {0};

  htim17.Instance = TIM17;
  htim17.Init.Prescaler = 1;
  htim17.Init.CounterMode = TIM_COUNTERMODE_UP;
  htim17.Init.Period = 39;
  htim17.Init.ClockDivision = TIM_CLOCKDIVISION_DIV1;
  htim17.Init.RepetitionCounter = 0;
  htim17.Init.AutoReloadPreload = TIM_AUTORELOAD_PRELOAD_DISABLE;
  if (HAL_TIM_Base_Init(&htim17) != HAL_OK)
  {
    Error_Handler();
  }
  if (HAL_TIM_PWM_Init(&htim17) != HAL_OK)
  {
    Error_Handler();
  }
  sConfigOC.OCMode = TIM_OCMODE_PWM1;
  sConfigOC.Pulse = 0;
  sConfigOC.OCPolarity = TIM_OCPOLARITY_HIGH;
  sConfigOC.OCNPolarity = TIM_OCNPOLARITY_HIGH;
  sConfigOC.OCFastMode = TIM_OCFAST_DISABLE;
  sConfigOC.OCIdleState = TIM_OCIDLESTATE_RESET;
  sConfigOC.OCNIdleState = TIM_OCNIDLESTATE_RESET;
  if (HAL_TIM_PWM_ConfigChannel(&htim17, &sConfigOC, TIM_CHANNEL_1) != HAL_OK)
  {
    Error_Handler();
  }
  sBreakDeadTimeConfig.OffStateRunMode = TIM_OSSR_DISABLE;
  sBreakDeadTimeConfig.OffStateIDLEMode = TIM_OSSI_DISABLE;
  sBreakDeadTimeConfig.LockLevel = TIM_LOCKLEVEL_OFF;
  sBreakDeadTimeConfig.DeadTime = 0;
  sBreakDeadTimeConfig.BreakState = TIM_BREAK_DISABLE;
  sBreakDeadTimeConfig.BreakPolarity = TIM_BREAKPOLARITY_HIGH;
  sBreakDeadTimeConfig.BreakFilter = 0;
  sBreakDeadTimeConfig.AutomaticOutput = TIM_AUTOMATICOUTPUT_DISABLE;
  if (HAL_TIMEx_ConfigBreakDeadTime(&htim17, &sBreakDeadTimeConfig) != HAL_OK)
  {
    Error_Handler();
  }
  HAL_TIM_MspPostInit(&htim17);

}

static void MX_USART2_UART_Init(void)
{

  huart2.Instance = USART2;
  huart2.Init.BaudRate = 115200;
  huart2.Init.WordLength = UART_WORDLENGTH_8B;
  huart2.Init.StopBits = UART_STOPBITS_1;
  huart2.Init.Parity = UART_PARITY_NONE;
  huart2.Init.Mode = UART_MODE_TX_RX;
  huart2.Init.HwFlowCtl = UART_HWCONTROL_NONE;
  huart2.Init.OverSampling = UART_OVERSAMPLING_16;
  huart2.Init.OneBitSampling = UART_ONE_BIT_SAMPLE_DISABLE;
  huart2.AdvancedInit.AdvFeatureInit = UART_ADVFEATURE_NO_INIT;
  if (HAL_UART_Init(&huart2) != HAL_OK)
  {
    Error_Handler();
  }

}

static void MX_DMA_Init(void)
{

  /* DMA controller clock enable */
  __HAL_RCC_DMA1_CLK_ENABLE();

  /* DMA interrupt init */
  /* DMA1_Channel1_IRQn interrupt configuration */
  HAL_NVIC_SetPriority(DMA1_Channel1_IRQn, 0, 0);
  HAL_NVIC_EnableIRQ(DMA1_Channel1_IRQn);
  /* DMA1_Channel3_IRQn interrupt configuration */
  HAL_NVIC_SetPriority(DMA1_Channel3_IRQn, 0, 0);
  HAL_NVIC_EnableIRQ(DMA1_Channel3_IRQn);
  /* DMA1_Channel7_IRQn interrupt configuration */
  HAL_NVIC_SetPriority(DMA1_Channel7_IRQn, 0, 0);
  HAL_NVIC_EnableIRQ(DMA1_Channel7_IRQn);

}

static void MX_GPIO_Init(void)
{
  GPIO_InitTypeDef GPIO_InitStruct = {0};

  /* GPIO Ports Clock Enable */
  __HAL_RCC_GPIOF_CLK_ENABLE();
  __HAL_RCC_GPIOA_CLK_ENABLE();
  __HAL_RCC_GPIOB_CLK_ENABLE();

  /*Configure GPIO pin Output Level */
  HAL_GPIO_WritePin(GPIOF, GPIO_PIN_1, GPIO_PIN_RESET);

  /*Configure GPIO pin Output Level */
  HAL_GPIO_WritePin(GPIOA, GPIO_PIN_8|GPIO_PIN_11|GPIO_PIN_12, GPIO_PIN_RESET);

  /*Configure GPIO pin : PF1 */
  GPIO_InitStruct.Pin = GPIO_PIN_1;
  GPIO_InitStruct.Mode = GPIO_MODE_OUTPUT_PP;
  GPIO_InitStruct.Pull = GPIO_NOPULL;
  GPIO_InitStruct.Speed = GPIO_SPEED_FREQ_LOW;
  HAL_GPIO_Init(GPIOF, &GPIO_InitStruct);

  /*Configure GPIO pins : PB0 PB1 PB4 PB5
                           PB6 */
  GPIO_InitStruct.Pin = GPIO_PIN_0|GPIO_PIN_1|GPIO_PIN_4|GPIO_PIN_5
                          |GPIO_PIN_6;
  GPIO_InitStruct.Mode = GPIO_MODE_INPUT;
  GPIO_InitStruct.Pull = GPIO_NOPULL;
  HAL_GPIO_Init(GPIOB, &GPIO_InitStruct);

  /*Configure GPIO pins : PA8 PA11 PA12 */
  GPIO_InitStruct.Pin = GPIO_PIN_8|GPIO_PIN_11|GPIO_PIN_12;
  GPIO_InitStruct.Mode = GPIO_MODE_OUTPUT_PP;
  GPIO_InitStruct.Pull = GPIO_NOPULL;
  GPIO_InitStruct.Speed = GPIO_SPEED_FREQ_LOW;
  HAL_GPIO_Init(GPIOA, &GPIO_InitStruct);

}

void Error_Handler(void)
{
  __disable_irq();
  while (1)
  {
  }
}
